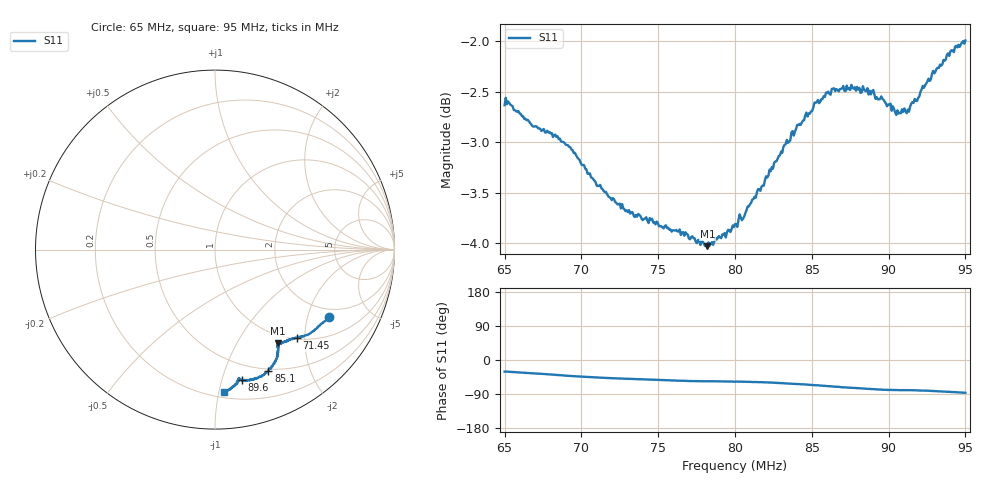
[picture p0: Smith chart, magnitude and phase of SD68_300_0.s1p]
! NanoVNA-App
! Date: 2025-08-09 13:19:47
! Start: 65MHz Stop: 95MHz Points: 401
! S-Parameter data: F S11
# Hz S RI R 50
!  Frequency  S11_Real  S11_Imag
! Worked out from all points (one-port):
!   401 points, 65 MHz to 95 MHz, reference 50 ohm
!   lowest |S11| = -4.0 dB at 78.2 MHz (marker M1), VSWR 4.39, Z = 43.7 - j75.3 ohm
!   |S11| at or under -10 dB: nowhere
!   S11 on the Smith chart (normalised r, x): 65 MHz: 1.66, -2.74; 71.45 MHz: 1.03, -1.83; 85.1 MHz: 0.48, -1.42; 89.6 MHz: 0.36, -1.16; 95 MHz: 0.24, -1.03
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6.5e7  0.6354 -0.3764
6.5225e7  0.6366 -0.3806
6.875e7  0.5395 -0.4589
6.9275e7  0.5219 -0.4724
7.0025e7  0.4957 -0.4797
7.145e7  0.4552 -0.491
7.25e7  0.4323 -0.4986
7.625e7  0.3698 -0.5217
7.76e7  0.3543 -0.5247
7.82e7  0.3513 -0.5213
8e7  0.3482 -0.5425
8.06e7  0.3505 -0.5477
8.21e7  0.3495 -0.5833
8.285e7  0.3436 -0.6064
8.375e7  0.3308 -0.6361
8.45e7  0.3144 -0.6544
8.51e7  0.2977 -0.6739
8.555e7  0.2835 -0.6852
8.645e7  0.2558 -0.7082
8.75e7  0.217 -0.7194
8.8475e7  0.1884 -0.7269
8.96e7  0.1512 -0.7285
9.0575e7  0.1325 -0.7222
9.125e7  0.1313 -0.723
9.1625e7  0.133 -0.7285
9.2675e7  0.1154 -0.7505
9.395e7  0.081 -0.7771
9.5e7  0.0482 -0.7938
